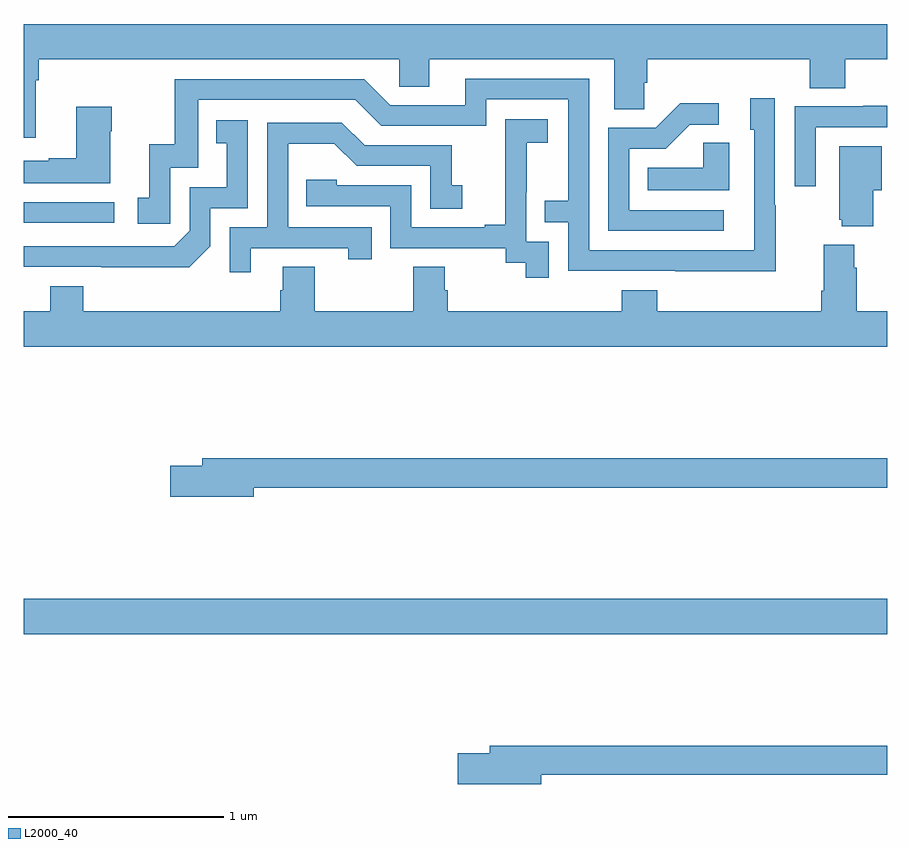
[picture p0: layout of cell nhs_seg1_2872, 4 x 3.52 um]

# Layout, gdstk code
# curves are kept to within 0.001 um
import gdstk
lib = gdstk.Library(unit=1e-6, precision=1e-09)
def R(c, l, rs):  # rectangles x0, y0, x1, y1
    for r in rs: c.add(gdstk.rectangle(r[:2], r[2:], *l))
def P(c, l, *ps):  # polygons
    for p in ps: c.add(gdstk.Polygon(p, *l))
L2000_40 = (2000, 40)

nhs_seg1_2872 = lib.new_cell('nhs_seg1_2872')
R(nhs_seg1_2872, L2000_40, [(267,529.088,271,529.252), (267,530.994,267.418,531.09)])
P(nhs_seg1_2872, L2000_40, [(267.055,531.656),(267.068,531.656),(267.068,531.752),(268.74,531.752),(268.74,531.625),(268.879,531.625),(268.879,531.752),(269.735,531.752),(269.735,531.52),(269.874,531.52),(269.874,531.643),(269.888,531.643),(269.888,531.752),(270.641,531.752),(270.641,531.619),(270.806,531.619),(270.806,531.752),(271,531.752),(271,531.916),(267,531.916),(267,531.39),(267.055,531.39)],
  [(270.483,531.077),(270.48,531.077),(270.48,531.571),(270.365,531.571),(270.365,531.426),(270.384,531.426),(270.384,530.868),(269.619,530.868),(269.619,531.663),(269.045,531.663),(269.045,531.54),(268.698,531.54),(268.578,531.66),(267.699,531.66),(267.699,531.358),(267.581,531.358),(267.581,531.111),(267.528,531.111),(267.528,530.991),(267.678,530.991),(267.678,531.249),(267.807,531.249),(267.807,531.564),(268.536,531.564),(268.656,531.444),(269.142,531.444),(269.142,531.567),(269.523,531.567),(269.523,531.098),(269.413,531.098),(269.413,530.997),(269.523,530.997),(269.523,530.772),(270.483,530.771)],
  [(270.244,531.054),(269.805,531.054),(269.805,531.339),(269.974,531.339),(270.085,531.45),(270.22,531.45),(270.22,531.548),(270.041,531.548),(269.928,531.435),(269.709,531.435),(269.709,530.958),(270.244,530.958)],
  [(270.669,531.438),(271,531.438),(271,531.536),(270.889,531.536),(270.889,531.534),(270.573,531.534),(270.573,531.165),(270.669,531.165)],
  [(267.4,531.419),(267.408,531.419),(267.408,531.532),(267.242,531.532),(267.242,531.293),(267.116,531.293),(267.116,531.283),(267,531.283),(267,531.179),(267.4,531.179)],
  [(269.433,530.907),(269.328,530.907),(269.328,531.137),(269.33,531.137),(269.33,531.365),(269.428,531.365),(269.428,531.475),(269.23,531.475),(269.23,531.269),(269.231,531.269),(269.231,530.986),(269.135,530.986),(269.135,530.973),(268.794,530.973),(268.794,531.168),(268.449,531.168),(268.449,531.195),(268.309,531.195),(268.309,531.072),(268.698,531.072),(268.698,530.877),(269.232,530.877),(269.232,530.809),(269.325,530.809),(269.325,530.739),(269.433,530.739)],
  [(267.864,530.886),(267.864,531.063),(268.038,531.063),(268.038,531.469),(267.892,531.469),(267.892,531.363),(267.941,531.363),(267.941,531.159),(267.768,531.159),(267.768,530.958),(267.696,530.886),(267,530.886),(267,530.79),(267.766,530.789)],
  [(268.051,530.877),(268.502,530.877),(268.502,530.826),(268.613,530.826),(268.613,530.973),(268.224,530.973),(268.224,531.362),(268.438,531.362),(268.542,531.258),(268.884,531.258),(268.884,531.06),(269.032,531.06),(269.032,531.169),(268.983,531.169),(268.983,531.354),(268.579,531.354),(268.474,531.459),(268.128,531.459),(268.128,530.973),(267.954,530.973),(267.954,530.766),(268.051,530.766)],
  [(270.268,531.365),(270.147,531.365),(270.147,531.25),(269.89,531.25),(269.89,531.146),(270.268,531.146)],
  [(270.937,531.146),(270.976,531.146),(270.976,531.349),(270.779,531.349),(270.779,531.009),(270.791,531.009),(270.791,530.978),(270.937,530.978)],
  [(271,530.584),(270.86,530.584),(270.86,530.786),(270.847,530.786),(270.847,530.893),(270.707,530.893),(270.707,530.68),(270.695,530.68),(270.695,530.584),(269.936,530.584),(269.936,530.683),(269.771,530.683),(269.771,530.584),(268.964,530.584),(268.964,530.682),(268.951,530.682),(268.951,530.792),(268.804,530.792),(268.804,530.584),(268.347,530.584),(268.347,530.792),(268.199,530.792),(268.199,530.682),(268.187,530.682),(268.187,530.584),(267.275,530.584),(267.275,530.701),(267.122,530.701),(267.122,530.584),(267,530.584),(267,530.42),(271,530.42)],
  [(268.066,529.768),(271,529.768),(271,529.904),(267.827,529.904),(267.827,529.868),(267.678,529.868),(267.678,529.726),(268.066,529.726)],
  [(269.398,528.436),(271,528.436),(271,528.572),(269.159,528.572),(269.159,528.536),(269.01,528.536),(269.01,528.394),(269.398,528.394)])

lib.write_gds('nhs_seg1_2872.gds')
